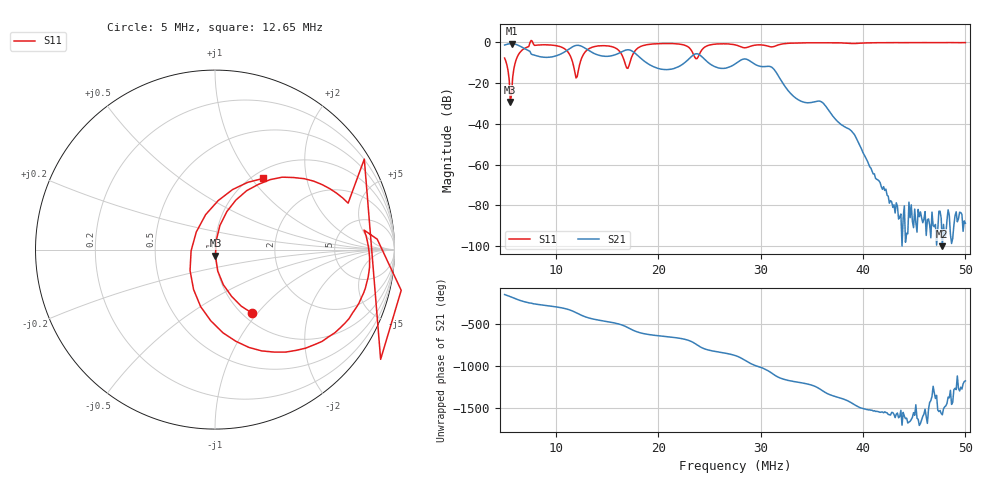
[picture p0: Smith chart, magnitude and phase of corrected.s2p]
! S11/S21 only; reverse parameters are placeholders. Device calibration unverified.
! [Saver CAL applied] C:\Users\aknya\MyProjects\rf-simulator\calibration2.cal | Ideal standards assumed | Input: NanoVNA F V2 profile | COM3 | 2026-09-08T12:30:20.5120787-04:00 | device calibration unverified
# HZ S RI R 50
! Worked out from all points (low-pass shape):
!   401 points, 5 MHz to 50 MHz, reference 50 ohm
!   highest |S21| = -0.67 dB at 5.675 MHz (marker M1); lowest = -100.0 dB at 47.75 MHz (marker M2)
!   |S21| within 3 dB of the highest: start of sweep to 7.152 MHz; 11.19 MHz to 13.1 MHz (1.908 MHz wide, 15.7 % of centre)
!   lowest |S11| = -29.3 dB at 5.562 MHz (marker M3), VSWR 1.07, Z = 50.1 - j3.45 ohm
!   |S11| at or under -10 dB: 5.159 MHz to 6.041 MHz (882.6 kHz wide, 15.8 % of centre); 11.65 MHz to 12.38 MHz (727.5 kHz wide, 6.05 % of centre); 16.74 MHz to 17.23 MHz (490.5 kHz wide, 2.89 % of centre)
!   S12 and S22 are empty: the file has one direction only
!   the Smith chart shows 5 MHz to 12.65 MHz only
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5000000  0.2058 -0.3537  -0.7151 -0.4675  0 0  0 0
5562500  0.00267 -0.0343  -0.9165 -0.1223  0 0  0 0
5675000  0.00719 0.0519  -0.9257 -0.0315  0 0  0 0
6575000  0.4371 0.4015  -0.6014 0.5045  0 0  0 0
7700000  1.037 -0.227  -0.1452 0.4772  0 0  0 0
1.09625e7  0.3304 -0.5711  0.4334 0.416  0 0  0 0
1.1975e7  -0.1331 -0.00649  0.834 -0.0429  0 0  0 0
1.25375e7  0.1817 0.3745  0.64 -0.4687  0 0  0 0
1.4675e7  0.8068 -0.1742  -0.1011 -0.4435  0 0  0 0
1.61375e7  0.3074 -0.5547  -0.3979 -0.3567  0 0  0 0
1.6925e7  -0.2222 -0.0743  -0.6477 -0.0596  0 0  0 0
1.7825e7  0.3543 0.5491  -0.3504 0.3793  0 0  0 0
2.0075e7  0.924 0.00567  0.0378 0.2218  0 0  0 0
2.35625e7  0.3578 -0.2452  0.502 -0.0843  0 0  0 0
2.5025e7  0.8487 -0.1203  -0.0159 -0.298  0 0  0 0
2.75e7  0.7321 -0.4604  -0.2638 -0.1258  0 0  0 0
2.9075e7  0.7282 -0.3483  -0.0932 0.3183  0 0  0 0
3.50375e7  0.7001 -0.671  -0.0292 -0.0165  0 0  0 0
3.8975e7  0.5327 -0.7638  0.00612 -0.00089  0 0  0 0
4.2575e7  0.4432 -0.87  -8.94e-05 -6.95e-05  0 0  0 0
4.775e7  0.2394 -0.9466  -7.95e-06 -6.04e-06  0 0  0 0
5e7  0.1565 -0.9681  -4.75e-06 -3.61e-05  0 0  0 0
